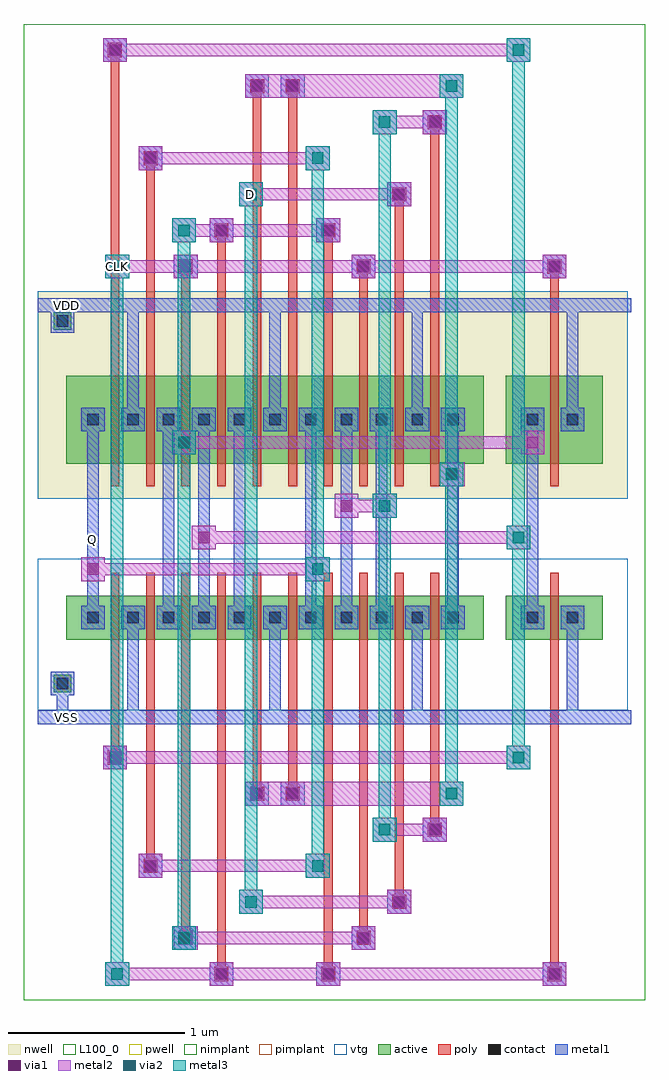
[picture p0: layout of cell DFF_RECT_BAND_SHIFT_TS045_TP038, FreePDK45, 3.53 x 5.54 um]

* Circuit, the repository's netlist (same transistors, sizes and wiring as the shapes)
* cell DFF_RECT_BAND_SHIFT_TS045_TP038
* pin CLK
* pin D
* pin Q
* pin VDD
* pin VSS
.SUBCKT DFF_RECT_BAND_SHIFT_TS045_TP038 1 3 4 12 13
* net 1 CLK
* net 3 D
* net 4 Q
* net 12 VDD
* net 13 VSS
* device instance $1 r0 *1 0.4375,1.73 PMOS_VTG
M$1 12 7 4 12 PMOS_VTG L=0.05U W=0.5U AS=0.12625P AD=0.038125P PS=1.505U
+ PD=0.6525U
* device instance $2 r0 *1 0.64,1.73 PMOS_VTG
M$2 8 4 12 12 PMOS_VTG L=0.05U W=0.5U AS=0.038125P AD=0.0375P PS=0.6525U
+ PD=0.65U
* device instance $3 r0 *1 0.84,1.73 PMOS_VTG
M$3 7 1 8 12 PMOS_VTG L=0.05U W=0.5U AS=0.0375P AD=0.038125P PS=0.65U PD=0.6525U
* device instance $4 r0 *1 1.0425,1.73 PMOS_VTG
M$4 9 2 7 12 PMOS_VTG L=0.05U W=0.5U AS=0.038125P AD=0.038125P PS=0.6525U
+ PD=0.6525U
* device instance $5 r0 *1 1.245,1.73 PMOS_VTG
M$5 12 6 9 12 PMOS_VTG L=0.05U W=0.5U AS=0.038125P AD=0.038125P PS=0.6525U
+ PD=0.6525U
* device instance $6 r0 *1 1.4475,1.73 PMOS_VTG
M$6 10 6 12 12 PMOS_VTG L=0.05U W=0.5U AS=0.038125P AD=0.038125P PS=0.6525U
+ PD=0.6525U
* device instance $7 r0 *1 1.65,1.73 PMOS_VTG
M$7 5 2 10 12 PMOS_VTG L=0.05U W=0.5U AS=0.038125P AD=0.0375P PS=0.6525U
+ PD=0.65U
* device instance $8 r0 *1 1.85,1.73 PMOS_VTG
M$8 11 1 5 12 PMOS_VTG L=0.05U W=0.5U AS=0.0375P AD=0.038125P PS=0.65U
+ PD=0.6525U
* device instance $9 r0 *1 2.0525,1.73 PMOS_VTG
M$9 12 3 11 12 PMOS_VTG L=0.05U W=0.5U AS=0.038125P AD=0.038125P PS=0.6525U
+ PD=0.6525U
* device instance $10 r0 *1 2.255,1.73 PMOS_VTG
M$10 6 5 12 12 PMOS_VTG L=0.05U W=0.5U AS=0.038125P AD=0.12625P PS=0.6525U
+ PD=1.505U
* device instance $11 r0 *1 2.935,1.73 PMOS_VTG
M$11 12 1 2 12 PMOS_VTG L=0.05U W=0.5U AS=0.12625P AD=0.125P PS=1.505U PD=1.5U
* device instance $12 r0 *1 2.935,0.605 NMOS_VTG
M$12 13 1 2 13 NMOS_VTG L=0.05U W=0.25U AS=0.063125P AD=0.0625P PS=1.005U PD=1U
* device instance $13 r0 *1 0.4375,0.605 NMOS_VTG
M$13 13 7 4 13 NMOS_VTG L=0.05U W=0.25U AS=0.063125P AD=0.0190625P PS=1.005U
+ PD=0.4025U
* device instance $14 r0 *1 0.64,0.605 NMOS_VTG
M$14 8 4 13 13 NMOS_VTG L=0.05U W=0.25U AS=0.0190625P AD=0.01875P PS=0.4025U
+ PD=0.4U
* device instance $15 r0 *1 0.84,0.605 NMOS_VTG
M$15 7 2 8 13 NMOS_VTG L=0.05U W=0.25U AS=0.01875P AD=0.0190625P PS=0.4U
+ PD=0.4025U
* device instance $16 r0 *1 1.0425,0.605 NMOS_VTG
M$16 9 1 7 13 NMOS_VTG L=0.05U W=0.25U AS=0.0190625P AD=0.0190625P PS=0.4025U
+ PD=0.4025U
* device instance $17 r0 *1 1.245,0.605 NMOS_VTG
M$17 13 6 9 13 NMOS_VTG L=0.05U W=0.25U AS=0.0190625P AD=0.0190625P PS=0.4025U
+ PD=0.4025U
* device instance $18 r0 *1 1.4475,0.605 NMOS_VTG
M$18 10 6 13 13 NMOS_VTG L=0.05U W=0.25U AS=0.0190625P AD=0.0190625P PS=0.4025U
+ PD=0.4025U
* device instance $19 r0 *1 1.65,0.605 NMOS_VTG
M$19 5 1 10 13 NMOS_VTG L=0.05U W=0.25U AS=0.0190625P AD=0.01875P PS=0.4025U
+ PD=0.4U
* device instance $20 r0 *1 1.85,0.605 NMOS_VTG
M$20 11 2 5 13 NMOS_VTG L=0.05U W=0.25U AS=0.01875P AD=0.0190625P PS=0.4U
+ PD=0.4025U
* device instance $21 r0 *1 2.0525,0.605 NMOS_VTG
M$21 13 3 11 13 NMOS_VTG L=0.05U W=0.25U AS=0.0190625P AD=0.0190625P PS=0.4025U
+ PD=0.4025U
* device instance $22 r0 *1 2.255,0.605 NMOS_VTG
M$22 6 5 13 13 NMOS_VTG L=0.05U W=0.25U AS=0.0190625P AD=0.063125P PS=0.4025U
+ PD=1.005U
.ENDS DFF_RECT_BAND_SHIFT_TS045_TP038

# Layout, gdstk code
import gdstk
lib = gdstk.Library(unit=1e-6, precision=2.5e-09)
def R(c, l, rs):  # rectangles x0, y0, x1, y1
    for r in rs: c.add(gdstk.rectangle(r[:2], r[2:], *l))
def A(c, l, x, y, w, h, nx, ny, dx, dy):  # array of equal rectangles
    R(c, l, [(x+i*dx, y+j*dy, x+i*dx+w, y+j*dy+h) for i in range(nx) for j in range(ny)])
active = (1, 0)
pwell = (2, 0)
nwell = (3, 0)
nimplant = (4, 0)
pimplant = (5, 0)
vtg = (6, 0)
poly = (9, 0)
contact = (10, 0)
metal1 = (11, 0)
via1 = (12, 0)
metal2 = (13, 0)
via2 = (14, 0)
metal3 = (15, 0)
L100_0 = (100, 0)

dff_rect_band_shift_ts04 = lib.new_cell('DFF_RECT_BAND_SHIFT_TS045_TP038')
R(dff_rect_band_shift_ts04, active, [(0.09,0.18,0.19,0.28), (0.16,0.48,2.5325,0.73), (2.6575,0.48,3.21,0.73), (0.16,1.48,2.5325,1.98), (2.6575,1.48,3.21,1.98), (0.09,2.24,0.19,2.34)])
R(dff_rect_band_shift_ts04, pwell, [(0,0.08,3.35,0.94), (0.02,0.24,3.35,0.94)])
R(dff_rect_band_shift_ts04, nwell, [(0,1.28,3.35,2.46), (0.02,1.28,3.35,2.2)])
R(dff_rect_band_shift_ts04, nimplant, [(0.16,0.48,2.5325,0.73), (2.6575,0.48,3.21,0.73), (0.09,2.24,0.19,2.34)])
R(dff_rect_band_shift_ts04, pimplant, [(0.09,0.18,0.19,0.28), (0.16,1.48,2.5325,1.98), (2.6575,1.48,3.21,1.98)])
R(dff_rect_band_shift_ts04, vtg, [(0,0.08,3.35,0.94), (0.02,0.24,3.35,0.94), (0,1.28,3.35,2.46), (0.02,1.28,3.35,2.2)])
A(dff_rect_band_shift_ts04, poly, 0.815, 0.35, 0.05, 0.51, 5, 1, 0.2025, 0)
A(dff_rect_band_shift_ts04, poly, 1.825, 0.35, 0.05, 0.51, 3, 1, 0.2025, 0)
A(dff_rect_band_shift_ts04, poly, 0.815, 1.35, 0.05, 0.76, 5, 1, 0.2025, 0)
A(dff_rect_band_shift_ts04, poly, 1.825, 1.35, 0.05, 0.76, 3, 1, 0.2025, 0)
R(dff_rect_band_shift_ts04, poly, [(1.0025,-1.46,1.0825,-1.38), (1.0175,-1.46,1.0675,0.35), (1.61,-1.46,1.69,-1.38), (1.625,-1.46,1.675,0.35), (2.895,-1.46,2.975,-1.38), (2.91,-1.46,2.96,0.35), (0.8,-1.255,0.88,-1.175), (0.815,-1.255,0.865,0.35), (1.81,-1.255,1.89,-1.175), (1.825,-1.255,1.875,0.35), (2.0125,-1.05,2.0925,-0.97), (2.0275,-1.05,2.0775,0.35), (0.6,-0.845,0.68,-0.765), (0.615,-0.845,0.665,0.35), (2.215,-0.64,2.295,-0.56), (2.23,-0.64,2.28,0.35), (1.205,-0.435,1.285,-0.355), (1.22,-0.435,1.27,0.35), (1.4075,-0.435,1.4875,-0.355), (1.4225,-0.435,1.4725,0.35), (0.3975,-0.23,0.4775,-0.15), (0.4125,-0.23,0.4625,0.35), (0.4125,0.35,0.4625,0.86), (0.615,0.35,0.665,0.86), (2.91,0.35,2.96,0.86), (0.4125,1.35,0.4625,2.11), (0.615,1.35,0.665,2.11), (2.91,1.35,2.96,2.11), (0.4125,2.11,0.4625,3.87), (0.615,2.11,0.665,3.255), (0.815,2.11,0.865,2.64), (1.0175,2.11,1.0675,2.845), (1.22,2.11,1.27,3.665), (1.4225,2.11,1.4725,3.665), (1.625,2.11,1.675,2.845), (1.825,2.11,1.875,2.64), (2.0275,2.11,2.0775,3.05), (2.23,2.11,2.28,3.46), (2.91,2.11,2.96,2.64), (0.8,2.56,0.88,2.64), (1.81,2.56,1.89,2.64), (2.895,2.56,2.975,2.64), (1.0025,2.765,1.0825,2.845), (1.61,2.765,1.69,2.845), (2.0125,2.97,2.0925,3.05), (0.6,3.175,0.68,3.255), (2.215,3.38,2.295,3.46), (1.205,3.585,1.285,3.665), (1.4075,3.585,1.4875,3.665), (0.3975,3.79,0.4775,3.87)])
A(dff_rect_band_shift_ts04, contact, 0.91, 0.5725, 0.065, 0.065, 5, 2, 0.2025, 1.125)
A(dff_rect_band_shift_ts04, contact, 1.92, 0.5725, 0.065, 0.065, 3, 2, 0.2025, 1.125)
R(dff_rect_band_shift_ts04, contact, [(1.01,-1.4525,1.075,-1.3875), (1.6175,-1.4525,1.6825,-1.3875), (2.9025,-1.4525,2.9675,-1.3875), (0.8075,-1.2475,0.8725,-1.1825), (1.8175,-1.2475,1.8825,-1.1825), (2.02,-1.0425,2.085,-0.9775), (0.6075,-0.8375,0.6725,-0.7725), (2.2225,-0.6325,2.2875,-0.5675), (1.2125,-0.4275,1.2775,-0.3625), (1.415,-0.4275,1.48,-0.3625), (0.405,-0.2225,0.47,-0.1575), (0.1075,0.1975,0.1725,0.2625), (0.28,0.5725,0.345,0.6375), (0.5075,0.5725,0.5725,0.6375), (0.71,0.5725,0.775,0.6375), (2.7775,0.5725,2.8425,0.6375), (3.005,0.5725,3.07,0.6375), (0.28,1.6975,0.345,1.7625), (0.5075,1.6975,0.5725,1.7625), (0.71,1.6975,0.775,1.7625), (2.7775,1.6975,2.8425,1.7625), (3.005,1.6975,3.07,1.7625), (0.1075,2.2575,0.1725,2.3225), (0.8075,2.5675,0.8725,2.6325), (1.8175,2.5675,1.8825,2.6325), (2.9025,2.5675,2.9675,2.6325), (1.01,2.7725,1.075,2.8375), (1.6175,2.7725,1.6825,2.8375), (2.02,2.9775,2.085,3.0425), (0.6075,3.1825,0.6725,3.2475), (2.2225,3.3875,2.2875,3.4525), (1.2125,3.5925,1.2775,3.6575), (1.415,3.5925,1.48,3.6575), (0.405,3.7975,0.47,3.8625)])
A(dff_rect_band_shift_ts04, metal1, 0.5075, 0.04, 0.065, 0.565, 3, 1, 0.8075, 0)
A(dff_rect_band_shift_ts04, metal1, 0.875, 0.5375, 0.135, 0.135, 5, 2, 0.2025, 1.125)
A(dff_rect_band_shift_ts04, metal1, 1.885, 0.5375, 0.135, 0.135, 3, 2, 0.2025, 1.125)
A(dff_rect_band_shift_ts04, metal1, 0.5075, 1.73, 0.065, 0.65, 3, 1, 0.8075, 0)
R(dff_rect_band_shift_ts04, metal1, [(0.975,-1.4875,1.11,-1.3525), (1.5825,-1.4875,1.7175,-1.3525), (2.8675,-1.4875,3.0025,-1.3525), (0.7725,-1.2825,0.9075,-1.1475), (1.7825,-1.2825,1.9175,-1.1475), (1.985,-1.0775,2.12,-0.9425), (0.5725,-0.8725,0.7075,-0.7375), (2.1875,-0.6675,2.3225,-0.5325), (1.1775,-0.4625,1.3125,-0.3275), (1.38,-0.4625,1.515,-0.3275), (0.37,-0.2575,0.505,-0.1225), (0,0,3.37,0.08), (0.1075,0.04,0.1725,0.23), (3.005,0.04,3.07,0.605), (0.0725,0.1625,0.2075,0.2975), (0.245,0.5375,0.38,0.6725), (0.4725,0.5375,0.6075,0.6725), (0.675,0.5375,0.81,0.6725), (2.7425,0.5375,2.8775,0.6725), (2.97,0.5375,3.105,0.6725), (0.28,0.605,0.345,1.73), (0.71,0.605,0.775,1.73), (0.91,0.605,0.975,1.73), (1.1125,0.605,1.1775,1.73), (1.5175,0.605,1.5825,1.73), (1.72,0.605,1.785,1.73), (1.92,0.605,1.985,1.73), (2.325,0.605,2.39,1.73), (2.7775,0.605,2.8425,1.73), (0.245,1.6625,0.38,1.7975), (0.4725,1.6625,0.6075,1.7975), (0.675,1.6625,0.81,1.7975), (2.7425,1.6625,2.8775,1.7975), (2.97,1.6625,3.105,1.7975), (3.005,1.73,3.07,2.38), (0.0725,2.2225,0.2075,2.3575), (0.1075,2.29,0.1725,2.38), (0,2.34,3.37,2.42), (0.7725,2.5325,0.9075,2.6675), (1.7825,2.5325,1.9175,2.6675), (2.8675,2.5325,3.0025,2.6675), (0.975,2.7375,1.11,2.8725), (1.5825,2.7375,1.7175,2.8725), (1.985,2.9425,2.12,3.0775), (0.5725,3.1475,0.7075,3.2825), (2.1875,3.3525,2.3225,3.4875), (1.1775,3.5575,1.3125,3.6925), (1.38,3.5575,1.515,3.6925), (0.37,3.7625,0.505,3.8975)])
R(dff_rect_band_shift_ts04, via1, [(1.01,-1.4525,1.075,-1.3875), (1.6175,-1.4525,1.6825,-1.3875), (2.9025,-1.4525,2.9675,-1.3875), (0.8075,-1.2475,0.8725,-1.1825), (1.8175,-1.2475,1.8825,-1.1825), (2.02,-1.0425,2.085,-0.9775), (0.6075,-0.8375,0.6725,-0.7725), (2.2225,-0.6325,2.2875,-0.5675), (1.2125,-0.4275,1.2775,-0.3625), (1.415,-0.4275,1.48,-0.3625), (0.405,-0.2225,0.47,-0.1575), (0.28,0.8475,0.345,0.9125), (0.91,1.0275,0.975,1.0925), (1.72,1.2075,1.785,1.2725), (2.325,1.3875,2.39,1.4525), (2.7775,1.5675,2.8425,1.6325), (0.8075,2.5675,0.8725,2.6325), (1.8175,2.5675,1.8825,2.6325), (2.9025,2.5675,2.9675,2.6325), (1.01,2.7725,1.075,2.8375), (1.6175,2.7725,1.6825,2.8375), (2.02,2.9775,2.085,3.0425), (0.6075,3.1825,0.6725,3.2475), (2.2225,3.3875,2.2875,3.4525), (1.2125,3.5925,1.2775,3.6575), (1.415,3.5925,1.48,3.6575), (0.405,3.7975,0.47,3.8625)])
R(dff_rect_band_shift_ts04, metal2, [(0.3825,-1.4875,0.5175,-1.3525), (0.3825,-1.4875,0.5175,-1.3525), (0.3825,-1.4875,0.5175,-1.3525), (0.975,-1.4875,1.11,-1.3525), (1.5825,-1.4875,1.7175,-1.3525), (2.8675,-1.4875,3.0025,-1.3525), (0.415,-1.455,2.97,-1.385), (0.415,-1.455,1.0775,-1.385), (0.415,-1.455,1.685,-1.385), (0.7625,-1.2825,0.8975,-1.1475), (0.7625,-1.2825,0.8975,-1.1475), (0.7725,-1.2825,0.9075,-1.1475), (1.7825,-1.2825,1.9175,-1.1475), (0.795,-1.25,0.875,-1.18), (0.795,-1.25,1.885,-1.18), (1.1425,-1.0775,1.2775,-0.9425), (1.985,-1.0775,2.12,-0.9425), (1.175,-1.045,2.0875,-0.975), (0.5725,-0.8725,0.7075,-0.7375), (1.5225,-0.8725,1.6575,-0.7375), (0.605,-0.84,1.625,-0.77), (1.9025,-0.6675,2.0375,-0.5325), (2.1875,-0.6675,2.3225,-0.5325), (1.935,-0.635,2.29,-0.565), (1.1775,-0.4625,1.3125,-0.3275), (1.1775,-0.4625,2.4175,-0.3275), (1.38,-0.4625,1.515,-0.3275), (2.2825,-0.4625,2.4175,-0.3275), (2.2825,-0.4625,2.4175,-0.3275), (1.21,-0.43,2.385,-0.36), (1.4125,-0.43,2.385,-0.36), (0.37,-0.2575,0.505,-0.1225), (2.6625,-0.2575,2.7975,-0.1225), (0.4025,-0.225,2.765,-0.155), (0.245,0.8125,0.38,0.9475), (1.5225,0.8125,1.6575,0.9475), (0.2775,0.845,1.625,0.915), (0.875,0.9925,1.01,1.1275), (2.6625,0.9925,2.7975,1.1275), (0.9075,1.025,2.765,1.095), (1.685,1.1725,1.82,1.3075), (1.9025,1.1725,2.0375,1.3075), (1.7175,1.205,2.005,1.275), (2.2825,1.3525,2.4175,1.4875), (2.29,1.3525,2.425,1.4875), (2.315,1.385,2.3925,1.455), (0.7625,1.5325,0.8975,1.6675), (2.7425,1.5325,2.8775,1.6675), (0.795,1.565,2.845,1.635), (0.3825,2.5325,0.5175,2.6675), (0.3825,2.5325,0.5175,2.6675), (0.3825,2.5325,0.5175,2.6675), (0.7725,2.5325,0.9075,2.6675), (1.7825,2.5325,1.9175,2.6675), (2.8675,2.5325,3.0025,2.6675), (0.415,2.565,0.875,2.635), (0.415,2.565,1.885,2.635), (0.415,2.565,2.97,2.635), (0.7625,2.7375,0.8975,2.8725), (0.7625,2.7375,0.8975,2.8725), (0.975,2.7375,1.11,2.8725), (1.5825,2.7375,1.7175,2.8725), (0.795,2.77,1.0775,2.84), (0.795,2.77,1.685,2.84), (1.1425,2.9425,1.2775,3.0775), (1.985,2.9425,2.12,3.0775), (1.175,2.975,2.0875,3.045), (0.5725,3.1475,0.7075,3.2825), (1.5225,3.1475,1.6575,3.2825), (0.605,3.18,1.625,3.25), (1.9025,3.3525,2.0375,3.4875), (2.1875,3.3525,2.3225,3.4875), (1.935,3.385,2.29,3.455), (1.1775,3.5575,1.3125,3.6925), (1.1775,3.5575,2.4175,3.6925), (1.38,3.5575,1.515,3.6925), (2.2825,3.5575,2.4175,3.6925), (2.2825,3.5575,2.4175,3.6925), (1.21,3.59,2.385,3.66), (1.4125,3.59,2.385,3.66), (0.37,3.7625,0.505,3.8975), (2.6625,3.7625,2.7975,3.8975), (0.4025,3.795,2.765,3.865)])
R(dff_rect_band_shift_ts04, via2, [(0.4175,-1.4525,0.4825,-1.3875), (0.4175,-1.4525,0.4825,-1.3875), (0.4175,-1.4525,0.4825,-1.3875), (0.7975,-1.2475,0.8625,-1.1825), (0.7975,-1.2475,0.8625,-1.1825), (1.1775,-1.0425,1.2425,-0.9775), (1.5575,-0.8375,1.6225,-0.7725), (1.9375,-0.6325,2.0025,-0.5675), (2.3175,-0.4275,2.3825,-0.3625), (2.3175,-0.4275,2.3825,-0.3625), (2.6975,-0.2225,2.7625,-0.1575), (1.5575,0.8475,1.6225,0.9125), (2.6975,1.0275,2.7625,1.0925), (1.9375,1.2075,2.0025,1.2725), (2.3175,1.3875,2.3825,1.4525), (0.7975,1.5675,0.8625,1.6325), (0.4175,2.5675,0.4825,2.6325), (0.4175,2.5675,0.4825,2.6325), (0.4175,2.5675,0.4825,2.6325), (0.7975,2.7725,0.8625,2.8375), (0.7975,2.7725,0.8625,2.8375), (1.1775,2.9775,1.2425,3.0425), (1.5575,3.1825,1.6225,3.2475), (1.9375,3.3875,2.0025,3.4525), (2.3175,3.5925,2.3825,3.6575), (2.3175,3.5925,2.3825,3.6575), (2.6975,3.7975,2.7625,3.8625)])
R(dff_rect_band_shift_ts04, metal3, [(0.3825,-1.4875,0.5175,-1.3525), (0.3825,-1.4875,0.5175,-1.3525), (0.3825,-1.4875,0.5175,-1.3525), (0.415,-1.455,0.485,2.635), (0.7625,-1.2825,0.8975,-1.1475), (0.7625,-1.2825,0.8975,-1.1475), (0.795,-1.25,0.865,2.84), (1.1425,-1.0775,1.2775,-0.9425), (1.175,-1.045,1.245,3.045), (1.5225,-0.8725,1.6575,-0.7375), (1.555,-0.84,1.625,3.25), (1.9025,-0.6675,2.0375,-0.5325), (1.935,-0.635,2.005,3.455), (2.2825,-0.4625,2.4175,-0.3275), (2.2825,-0.4625,2.4175,-0.3275), (2.315,-0.43,2.385,3.66), (2.6625,-0.2575,2.7975,-0.1225), (2.695,-0.225,2.765,3.865), (1.5225,0.8125,1.6575,0.9475), (2.6625,0.9925,2.7975,1.1275), (1.9025,1.1725,2.0375,1.3075), (2.2825,1.3525,2.4175,1.4875), (0.7625,1.5325,0.8975,1.6675), (0.3825,2.5325,0.5175,2.6675), (0.3825,2.5325,0.5175,2.6675), (0.3825,2.5325,0.5175,2.6675), (0.7625,2.7375,0.8975,2.8725), (0.7625,2.7375,0.8975,2.8725), (1.1425,2.9425,1.2775,3.0775), (1.5225,3.1475,1.6575,3.2825), (1.9025,3.3525,2.0375,3.4875), (2.2825,3.5575,2.4175,3.6925), (2.2825,3.5575,2.4175,3.6925), (2.6625,3.7625,2.7975,3.8975)])
R(dff_rect_band_shift_ts04, L100_0, [(-0.08,-1.5675,3.45,3.9775)])
dff_rect_band_shift_ts04.add(gdstk.Label('VDD', (0.16,2.38), layer=11, texttype=0))
dff_rect_band_shift_ts04.add(gdstk.Label('VSS', (0.16,0.04), layer=11, texttype=0))
dff_rect_band_shift_ts04.add(gdstk.Label('Q', (0.3125,1.05), layer=11, texttype=0))
dff_rect_band_shift_ts04.add(gdstk.Label('CLK', (0.45,2.6), layer=15, texttype=0))
dff_rect_band_shift_ts04.add(gdstk.Label('D', (1.21,3.01), layer=15, texttype=0))

lib.write_gds('DFF_RECT_BAND_SHIFT_TS045_TP038.gds')
